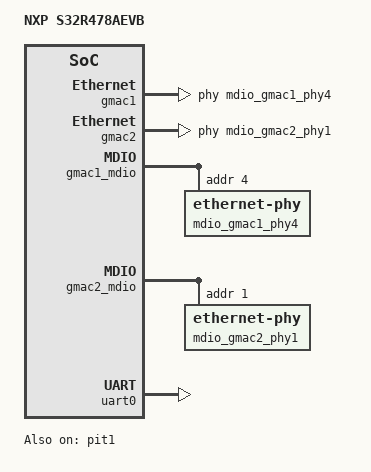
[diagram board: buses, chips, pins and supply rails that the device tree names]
// SPDX-License-Identifier: (GPL-2.0+ OR BSD-3-Clause)
/*
 * Device Tree file for NXP S32R47.
 *
 * Copyright 2025 NXP
 */

#include "s32r47.dtsi"

/ {
	model = "NXP S32R478AEVB";
	compatible = "nxp,s32r47";

	tick-timer = &pit1;
};

&gmac1 {
	status = "okay";
	phy-handle = <&mdio_gmac1_phy4>;
};

&gmac2 {
	status = "okay";
	phy-handle = <&mdio_gmac2_phy1>;
};

&gmac1_mdio {
	#address-cells = <1>;
	#size-cells = <0>;

	/* TJA1120B */
	mdio_gmac1_phy4: ethernet-phy@4 {
		reg = <4>;
	};
};

&gmac2_mdio {
	#address-cells = <1>;
	#size-cells = <0>;

	/* TJA1120B */
	mdio_gmac2_phy1: ethernet-phy@1 {
		reg = <1>;
	};
};

&pit1 {
	status = "okay";
};

&uart0 {
	status = "okay";
};
